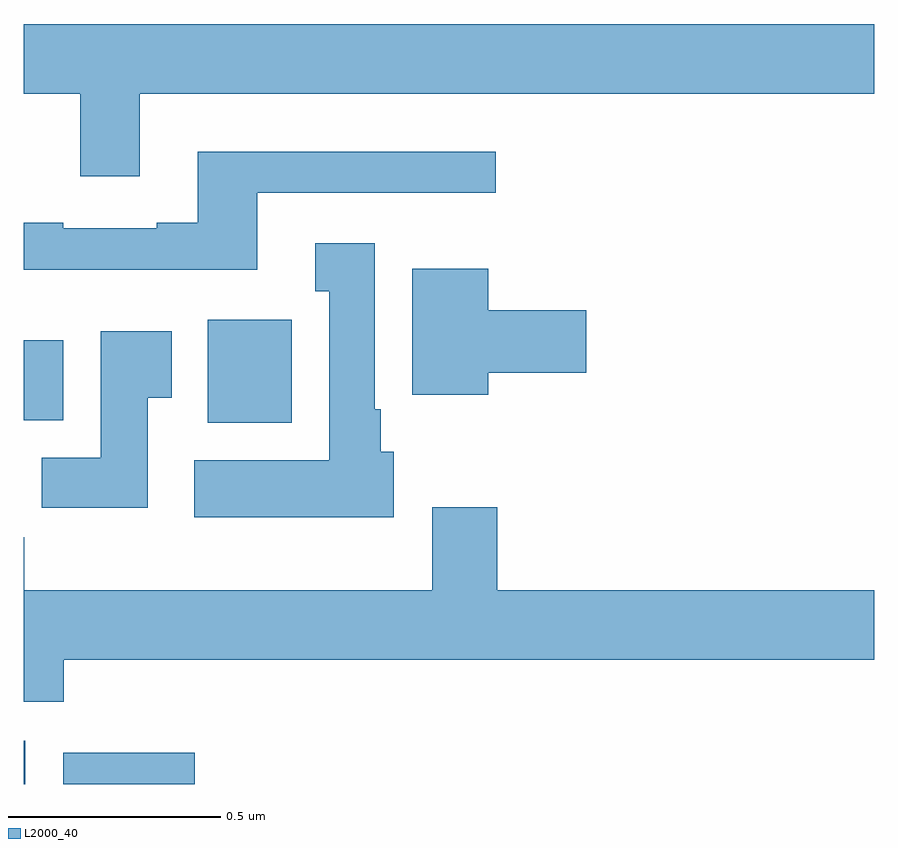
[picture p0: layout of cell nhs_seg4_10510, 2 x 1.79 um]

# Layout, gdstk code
import gdstk
lib = gdstk.Library(unit=1e-6, precision=1e-09)
def R(c, l, rs):  # rectangles x0, y0, x1, y1
    for r in rs: c.add(gdstk.rectangle(r[:2], r[2:], *l))
def P(c, l, *ps):  # polygons
    for p in ps: c.add(gdstk.Polygon(p, *l))
L2000_40 = (2000, 40)

nhs_seg4_10510 = lib.new_cell('nhs_seg4_10510')
R(nhs_seg4_10510, L2000_40, [(241,757.9,241.003,758.002), (241.092,757.9,241.402,757.974), (241.433,758.75,241.63,758.992), (241,758.756,241.093,758.944)])
P(nhs_seg4_10510, L2000_40, [(241.273,759.524),(243,759.524),(243,759.688),(241,759.688),(241,759.524),(241.133,759.524),(241.133,759.33),(241.273,759.33)],
  [(241.549,759.291),(242.11,759.291),(242.11,759.388),(241.409,759.388),(241.409,759.22),(241.313,759.22),(241.313,759.207),(241.093,759.207),(241.093,759.22),(241,759.22),(241,759.11),(241.549,759.11)],
  [(241.87,758.682),(241.84,758.682),(241.84,758.782),(241.825,758.782),(241.825,759.172),(241.685,759.172),(241.685,759.059),(241.718,759.059),(241.718,758.662),(241.401,758.662),(241.401,758.528),(241.87,758.528)],
  [(242.092,758.867),(242.323,758.867),(242.323,759.014),(242.092,759.014),(242.092,759.112),(241.913,759.112),(241.913,758.816),(242.092,758.816)],
  [(241.291,758.809),(241.348,758.809),(241.348,758.965),(241.181,758.965),(241.181,758.668),(241.042,758.668),(241.042,758.55),(241.291,758.55)],
  [(241.094,758.192),(243,758.192),(243,758.356),(242.114,758.356),(242.114,758.551),(241.961,758.551),(241.961,758.356),(241.001,758.356),(241.001,758.48),(241,758.48),(241,758.093),(241.094,758.093)])

lib.write_gds('nhs_seg4_10510.gds')
